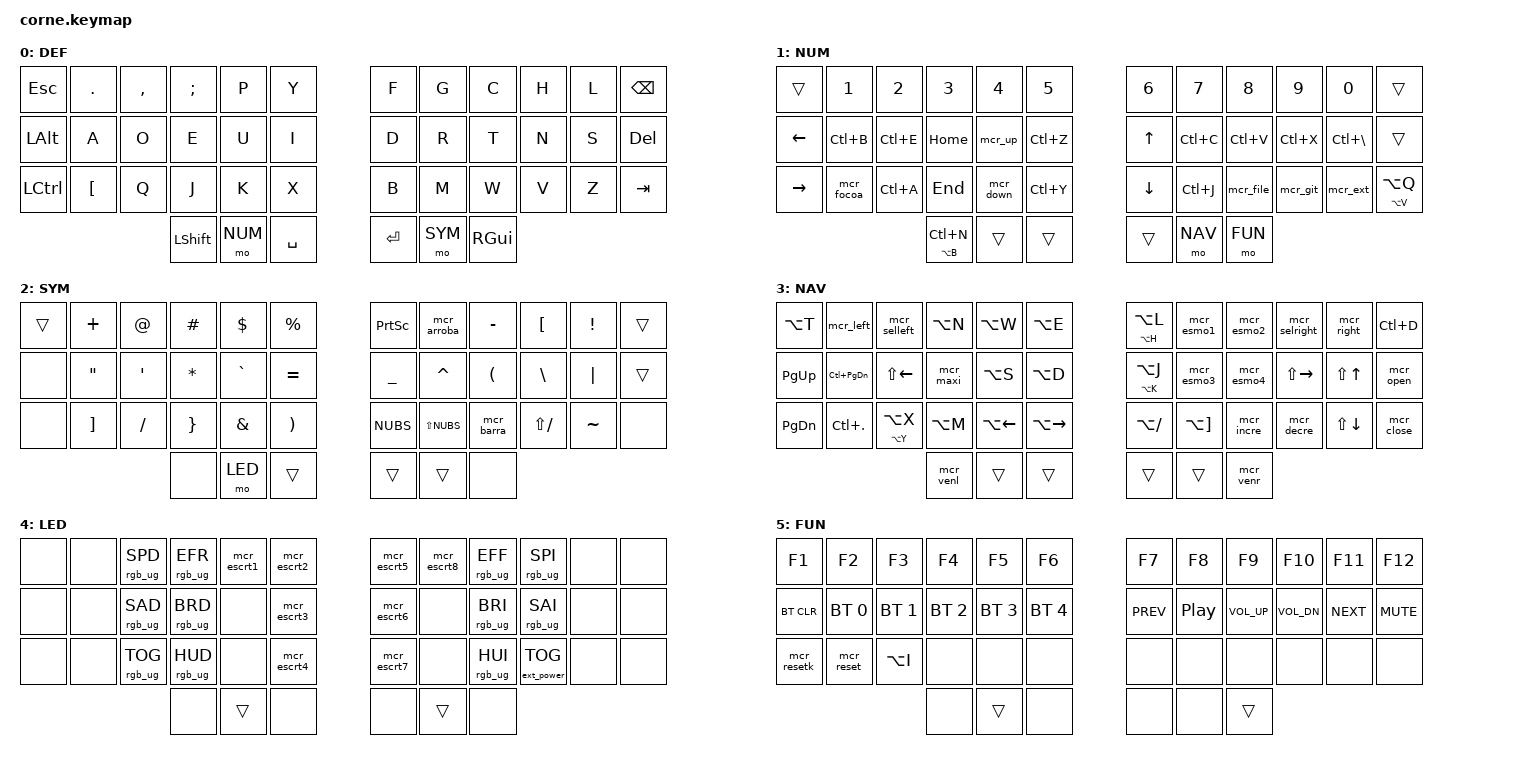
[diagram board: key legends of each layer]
/*
 * Copyright (c) 2020 The ZMK Contributors
 *
 * SPDX-License-Identifier: MIT
 */

//para activar funciones en el teclado
#include <behaviors.dtsi>
#include <dt-bindings/zmk/keys.h>
#include <dt-bindings/zmk/bt.h>
#include <dt-bindings/zmk/rgb.h>
#include <dt-bindings/zmk/ext_power.h>
#include <dt-bindings/zmk/outputs.h>
#include "macros.dtsi"
#include "combos.dtsi"

//numero de luces del teclado
&led_strip {
    chain-length = <27>;
};

//se definen nombres a las capas
#define DEF 0
#define NUM 1
#define SYM 2
#define NAV 3
#define LED 4
#define FUN 5

/ {
    behaviors {
        ht_comb: hold_tap_combos {
            compatible = "zmk,behavior-hold-tap";
            #binding-cells = <2>;
            flavor = "balanced";
            tapping-term-ms = <200>;
            bindings = <&kp>, <&kp>;
        };
    };
};

 / {
        keymap {
                compatible = "zmk,keymap"; 

                   default_layer {
            label = "DEF";

                        bindings = < 
   &kp  ESC     &kp  DOT    &kp  COMMA   &kp  SEMI    &kp  P     &kp  Y                &kp  F     &kp  G     &kp  C   &kp  H   &kp  L   &kp  BSPC
   &kp  LALT    &kp  A      &kp  O       &kp  E       &kp  U     &kp  I                &kp  D     &kp  R     &kp  T   &kp  N   &kp  S   &kp  DEL
   &kp  LCTRL   &kp  LBKT   &kp  Q       &kp  J       &kp  K     &kp  X                &kp  B     &kp  M     &kp  W   &kp  V   &kp  Z   &kp  TAB
                                         &kp  LSHFT   &mo  NUM   &kp  SPACE            &kp  RET   &mo  SYM   &kp  RGUI 
                        >;
                };

                 number_layer {
            label = "NUM";

                        bindings = <
   &trans     &kp  N1      &kp N2      &kp N3                 &kp N4      &kp N5               &kp N6     &kp N7      &kp N8      &kp N9      &kp N0         &trans
   &kp LEFT   &kp LC(B)    &kp LC(E)   &kp HOME               &mcr_up     &kp LC(Z)            &kp UP     &kp LC(C)   &kp LC(V)   &kp LC(X)   &kp LC(BSLH)   &trans
   &kp RIGHT  &mcr_focoa   &kp LC(A)   &kp END                &mcr_down   &kp LC(Y)            &kp DOWN   &kp LC(J)   &mcr_file   &mcr_git    &mcr_ext       &ht_comb LA(V) LA(Q)
                                       &ht_comb LA(B) LC(N)   &trans      &trans               &trans     &mo NAV     &mo FUN 
                        >;
                };

               symbol_layer {
            label = "SYM";

                        bindings = <
   &trans   &kp PLUS   &kp AT           &kp HASH    &kp DLLR    &kp PRCNT            &kp PSCRN   &mcr_arroba    &kp MINUS    &kp LBKT        &kp EXCL    &trans
   &none    &kp DQT    &kp APOSTROPHE   &kp ASTRK   &kp GRAVE   &kp EQUAL            &kp UNDER   &kp CARET      &kp LPAR     &kp BSLH        &kp PIPE    &trans
   &none    &kp RBKT   &kp SLASH        &kp RBRC    &kp AMPS    &kp RPAR             &kp NUBS    &kp LS(NUBS)   &mcr_barra   &kp LS(SLASH)   &kp TILDE   &none
                                        &none       &mo LED     &trans               &trans      &trans         &none
                        >;
                };

                 navigate_layer {
            label = "NAV";

                        bindings = < 
   &kp LA(T)   &mcr_left       &mcr_selleft            &kp LA(N)   &kp LA(W)      &kp LA(E)                &ht_comb LA(H) LA(L)   &mcr_esmo1      &mcr_esmo2   &mcr_selright   &mcr_right     &kp LC(D)
   &kp PG_UP   &kp LC(PG_DN)   &kp LS(LEFT)            &mcr_maxi   &kp LA(S)      &kp LA(D)                &ht_comb LA(K) LA(J)   &mcr_esmo3      &mcr_esmo4   &kp LS(RIGHT)   &kp LS(UP)     &mcr_open
   &kp PG_DN   &kp LC(DOT)     &ht_comb LA(Y) LA(X)    &kp LA(M)   &kp LA(LEFT)   &kp LA(RIGHT)            &kp LA(SLASH)          &kp LA(RBKT)   &mcr_incre   &mcr_decre      &kp LS(DOWN)   &mcr_close
                                                       &mcr_venl   &trans         &trans                   &trans                 &trans          &mcr_venr
                        >;
                };

                 led_layer {
            label = "LED";

                        bindings = <
   &none   &none   &rgb_ug RGB_SPD   &rgb_ug RGB_EFR   &mcr_escrt1   &mcr_escrt2            &mcr_escrt5   &mcr_escrt8   &rgb_ug RGB_EFF   &rgb_ug RGB_SPI     &none   &none
   &none   &none   &rgb_ug RGB_SAD   &rgb_ug RGB_BRD   &none         &mcr_escrt3            &mcr_escrt6   &none         &rgb_ug RGB_BRI   &rgb_ug RGB_SAI     &none   &none
   &none   &none   &rgb_ug RGB_TOG   &rgb_ug RGB_HUD   &none         &mcr_escrt4            &mcr_escrt7   &none         &rgb_ug RGB_HUI   &ext_power EP_TOG   &none   &none
                                     &none             &trans        &none                  &none         &trans        &none
                        >;
                };

                 function_layer {
            label = "FUN";

                        bindings = <
   &kp F1        &kp F2         &kp F3         &kp F4         &kp F5         &kp F6                  &kp F7       &kp F8     &kp F9         &kp F10        &kp F11      &kp F12
   &bt BT_CLR    &bt BT_SEL 0   &bt BT_SEL 1   &bt BT_SEL 2   &bt BT_SEL 3   &bt BT_SEL 4            &kp C_PREV   &kp C_PP   &kp C_VOL_UP   &kp C_VOL_DN   &kp C_NEXT   &kp C_MUTE  
   &mcr_resetk   &mcr_reset     &kp LA(I)      &none          &none          &none                   &none        &none      &none          &none          &none        &none
                                               &none          &trans         &none                   &none        &none      &trans
                        >;
                };
        };
};






